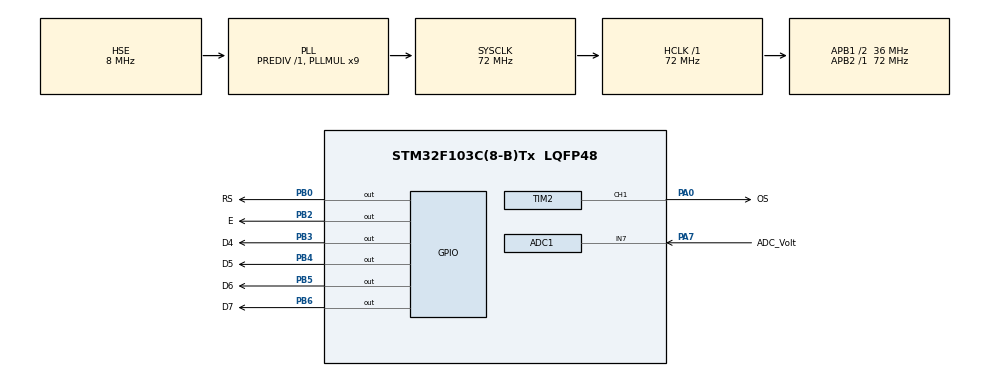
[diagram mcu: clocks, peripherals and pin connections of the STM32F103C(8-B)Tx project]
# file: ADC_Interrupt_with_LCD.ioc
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ADC1.Channel-0\#ChannelRegularConversion=ADC_CHANNEL_7
ADC1.ContinuousConvMode=DISABLE
ADC1.NbrOfConversionFlag=1
ADC1.Rank-0\#ChannelRegularConversion=1
ADC1.SamplingTime-0\#ChannelRegularConversion=ADC_SAMPLETIME_13CYCLES_5
ADC1.master=1
Mcu.Family=STM32F1
Mcu.Name=STM32F103C(8-B)Tx
Mcu.Package=LQFP48
NVIC.ADC1_2_IRQn=true\:0\:0\:false\:false\:true\:true\:true\:true
NVIC.PriorityGroup=NVIC_PRIORITYGROUP_4
PA0-WKUP.GPIO_Label=OS
PA0-WKUP.Signal=S_TIM2_CH1_ETR
PA7.GPIO_Label=ADC_Volt 
PA7.Signal=ADCx_IN7
PB0.GPIO_Label=RS
PB0.Signal=GPIO_Output
PB2.GPIO_Label=E
PB2.Signal=GPIO_Output
PB3.GPIO_Label=D4
PB3.Signal=GPIO_Output
PB4.GPIO_Label=D5
PB4.Signal=GPIO_Output
PB5.GPIO_Label=D6
PB5.Signal=GPIO_Output
PB6.GPIO_Label=D7
PB6.Signal=GPIO_Output
PD0-OSC_IN.Mode=HSE-External-Oscillator
PD0-OSC_IN.Signal=RCC_OSC_IN
PD1-OSC_OUT.Mode=HSE-External-Oscillator
PD1-OSC_OUT.Signal=RCC_OSC_OUT
ProjectManager.HeapSize=0x200
ProjectManager.StackSize=0x400
ProjectManager.TargetToolchain=STM32CubeIDE
RCC.ADCPresc=RCC_ADCPCLK2_DIV6
RCC.AHBFreq_Value=72000000
RCC.APB1CLKDivider=RCC_HCLK_DIV2
RCC.APB1Freq_Value=36000000
RCC.APB1TimFreq_Value=72000000
RCC.APB2Freq_Value=72000000
RCC.APB2TimFreq_Value=72000000
RCC.HCLKFreq_Value=72000000
RCC.PLLMUL=RCC_PLL_MUL9
RCC.PLLSourceVirtual=RCC_PLLSOURCE_HSE
RCC.SYSCLKFreq_VALUE=72000000
RCC.SYSCLKSource=RCC_SYSCLKSOURCE_PLLCLK
RCC.USBFreq_Value=72000000
SH.ADCx_IN7.0=ADC1_IN7,IN7
SH.S_TIM2_CH1_ETR.0=TIM2_CH1,PWM Generation1 CH1
TIM2.AutoReloadPreload=TIM_AUTORELOAD_PRELOAD_ENABLE
TIM2.Channel-PWM\ Generation1\ CH1=TIM_CHANNEL_1
VP_SYS_VS_ND.Mode=No_Debug
VP_TIM2_VS_ClockSourceINT.Mode=Internal
board=custom

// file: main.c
/* USER CODE BEGIN Header */
/**
  ******************************************************************************
  * @file           : main.c
  * @brief          : Main program body
  ******************************************************************************
  * @attention
  *
  * Copyright (c) 2024 STMicroelectronics.
  * All rights reserved.
  *
  * This software is licensed under terms that can be found in the LICENSE file
  * in the root directory of this software component.
  * If no LICENSE file comes with this software, it is provided AS-IS.
  *
  ******************************************************************************
  */
/* USER CODE END Header */
#include "main.h"

/* USER CODE BEGIN Includes */
#include <stdio.h>
/* USER CODE END Includes */

ADC_HandleTypeDef hadc1;

TIM_HandleTypeDef htim2;

/* USER CODE BEGIN PV */
uint32_t AD_RES=0;
float X=0.0;
float Y=0.0;
char Voltage[20];
char Duty_Cycle[20];

/* USER CODE END PV */

void SystemClock_Config(void);
static void MX_GPIO_Init(void);
static void MX_ADC1_Init(void);
static void MX_TIM2_Init(void);

/* USER CODE BEGIN 0 */
void HAL_ADC_ConvCpltCallback(ADC_HandleTypeDef* hadc)
{
  AD_RES = HAL_ADC_GetValue(&hadc1);
  /*If continuousconversion mode is DISABLED uncomment below*/
  HAL_ADC_Start_IT (&hadc1);
}
/* USER CODE END 0 */

int main(void)
{

  /* MCU Configuration--------------------------------------------------------*/

  /* Reset of all peripherals, Initializes the Flash interface and the Systick. */
  HAL_Init();

  /* Configure the system clock */
  SystemClock_Config();

  /* Initialize all configured peripherals */
  MX_GPIO_Init();
  MX_ADC1_Init();
  MX_TIM2_Init();
  /* USER CODE BEGIN 2 */
  // Calibrate The ADC On Power-Up For Better Accuracy
  HAL_ADCEx_Calibration_Start(&hadc1);
  // Start ADC Conversion in Interrupt mode
  HAL_ADC_Start_IT (&hadc1);
  // Start PWM Signal Generation
  HAL_TIM_PWM_Start(&htim2, TIM_CHANNEL_1);
  // Initialize the LCD display
  lcd_init();
  /* USER CODE END 2 */

  /* Infinite loop */
  /* USER CODE BEGIN WHILE */
  while (1)
  {
	  TIM2->CCR1 = AD_RES<<4;
	  X = (float)((TIM2->CCR1)*100.0/65536.0);
	  Y = AD_RES*3.3/4096.0;
	  sprintf(Voltage, "Voltage=%4.1f V\r\n", Y);
	  sprintf(Duty_Cycle, "Duty Cycle=%4.1f%%", X);
	  lcd_set_cursor(0, 0);
	  lcd_write_string(Voltage);
	  lcd_set_cursor(1, 0);
	  lcd_write_string(Duty_Cycle);
	  HAL_Delay(1);
    /* USER CODE END WHILE */

  }
}

void SystemClock_Config(void)
{
  RCC_OscInitTypeDef RCC_OscInitStruct = {0};
  RCC_ClkInitTypeDef RCC_ClkInitStruct = {0};
  RCC_PeriphCLKInitTypeDef PeriphClkInit = {0};

  /** Initializes the RCC Oscillators according to the specified parameters
  * in the RCC_OscInitTypeDef structure.
  */
  RCC_OscInitStruct.OscillatorType = RCC_OSCILLATORTYPE_HSE;
  RCC_OscInitStruct.HSEState = RCC_HSE_ON;
  RCC_OscInitStruct.HSEPredivValue = RCC_HSE_PREDIV_DIV1;
  RCC_OscInitStruct.HSIState = RCC_HSI_ON;
  RCC_OscInitStruct.PLL.PLLState = RCC_PLL_ON;
  RCC_OscInitStruct.PLL.PLLSource = RCC_PLLSOURCE_HSE;
  RCC_OscInitStruct.PLL.PLLMUL = RCC_PLL_MUL9;
  if (HAL_RCC_OscConfig(&RCC_OscInitStruct) != HAL_OK)
  {
    Error_Handler();
  }

  /** Initializes the CPU, AHB and APB buses clocks
  */
  RCC_ClkInitStruct.ClockType = RCC_CLOCKTYPE_HCLK|RCC_CLOCKTYPE_SYSCLK
                              |RCC_CLOCKTYPE_PCLK1|RCC_CLOCKTYPE_PCLK2;
  RCC_ClkInitStruct.SYSCLKSource = RCC_SYSCLKSOURCE_PLLCLK;
  RCC_ClkInitStruct.AHBCLKDivider = RCC_SYSCLK_DIV1;
  RCC_ClkInitStruct.APB1CLKDivider = RCC_HCLK_DIV2;
  RCC_ClkInitStruct.APB2CLKDivider = RCC_HCLK_DIV1;

  if (HAL_RCC_ClockConfig(&RCC_ClkInitStruct, FLASH_LATENCY_2) != HAL_OK)
  {
    Error_Handler();
  }
  PeriphClkInit.PeriphClockSelection = RCC_PERIPHCLK_ADC;
  PeriphClkInit.AdcClockSelection = RCC_ADCPCLK2_DIV6;
  if (HAL_RCCEx_PeriphCLKConfig(&PeriphClkInit) != HAL_OK)
  {
    Error_Handler();
  }
}

static void MX_ADC1_Init(void)
{

  ADC_ChannelConfTypeDef sConfig = {0};

  /** Common config
  */
  hadc1.Instance = ADC1;
  hadc1.Init.ScanConvMode = ADC_SCAN_DISABLE;
  hadc1.Init.ContinuousConvMode = DISABLE;
  hadc1.Init.DiscontinuousConvMode = DISABLE;
  hadc1.Init.ExternalTrigConv = ADC_SOFTWARE_START;
  hadc1.Init.DataAlign = ADC_DATAALIGN_RIGHT;
  hadc1.Init.NbrOfConversion = 1;
  if (HAL_ADC_Init(&hadc1) != HAL_OK)
  {
    Error_Handler();
  }

  /** Configure Regular Channel
  */
  sConfig.Channel = ADC_CHANNEL_7;
  sConfig.Rank = ADC_REGULAR_RANK_1;
  sConfig.SamplingTime = ADC_SAMPLETIME_13CYCLES_5;
  if (HAL_ADC_ConfigChannel(&hadc1, &sConfig) != HAL_OK)
  {
    Error_Handler();
  }

}

static void MX_TIM2_Init(void)
{

  TIM_ClockConfigTypeDef sClockSourceConfig = {0};
  TIM_MasterConfigTypeDef sMasterConfig = {0};
  TIM_OC_InitTypeDef sConfigOC = {0};

  htim2.Instance = TIM2;
  htim2.Init.Prescaler = 0;
  htim2.Init.CounterMode = TIM_COUNTERMODE_UP;
  htim2.Init.Period = 65535;
  htim2.Init.ClockDivision = TIM_CLOCKDIVISION_DIV1;
  htim2.Init.AutoReloadPreload = TIM_AUTORELOAD_PRELOAD_ENABLE;
  if (HAL_TIM_Base_Init(&htim2) != HAL_OK)
  {
    Error_Handler();
  }
  sClockSourceConfig.ClockSource = TIM_CLOCKSOURCE_INTERNAL;
  if (HAL_TIM_ConfigClockSource(&htim2, &sClockSourceConfig) != HAL_OK)
  {
    Error_Handler();
  }
  if (HAL_TIM_PWM_Init(&htim2) != HAL_OK)
  {
    Error_Handler();
  }
  sMasterConfig.MasterOutputTrigger = TIM_TRGO_RESET;
  sMasterConfig.MasterSlaveMode = TIM_MASTERSLAVEMODE_DISABLE;
  if (HAL_TIMEx_MasterConfigSynchronization(&htim2, &sMasterConfig) != HAL_OK)
  {
    Error_Handler();
  }
  sConfigOC.OCMode = TIM_OCMODE_PWM1;
  sConfigOC.Pulse = 0;
  sConfigOC.OCPolarity = TIM_OCPOLARITY_HIGH;
  sConfigOC.OCFastMode = TIM_OCFAST_DISABLE;
  if (HAL_TIM_PWM_ConfigChannel(&htim2, &sConfigOC, TIM_CHANNEL_1) != HAL_OK)
  {
    Error_Handler();
  }
  HAL_TIM_MspPostInit(&htim2);

}

static void MX_GPIO_Init(void)
{
  GPIO_InitTypeDef GPIO_InitStruct = {0};

  /* GPIO Ports Clock Enable */
  __HAL_RCC_GPIOD_CLK_ENABLE();
  __HAL_RCC_GPIOA_CLK_ENABLE();
  __HAL_RCC_GPIOB_CLK_ENABLE();

  /*Configure GPIO pin Output Level */
  HAL_GPIO_WritePin(GPIOB, GPIO_PIN_0|GPIO_PIN_2|GPIO_PIN_3|GPIO_PIN_4
                          |GPIO_PIN_5|GPIO_PIN_6, GPIO_PIN_RESET);

  /*Configure GPIO pins : PB0 PB2 PB3 PB4
                           PB5 PB6 */
  GPIO_InitStruct.Pin = GPIO_PIN_0|GPIO_PIN_2|GPIO_PIN_3|GPIO_PIN_4
                          |GPIO_PIN_5|GPIO_PIN_6;
  GPIO_InitStruct.Mode = GPIO_MODE_OUTPUT_PP;
  GPIO_InitStruct.Pull = GPIO_NOPULL;
  GPIO_InitStruct.Speed = GPIO_SPEED_FREQ_LOW;
  HAL_GPIO_Init(GPIOB, &GPIO_InitStruct);

}

void Error_Handler(void)
{
  __disable_irq();
  while (1)
  {
  }
}
